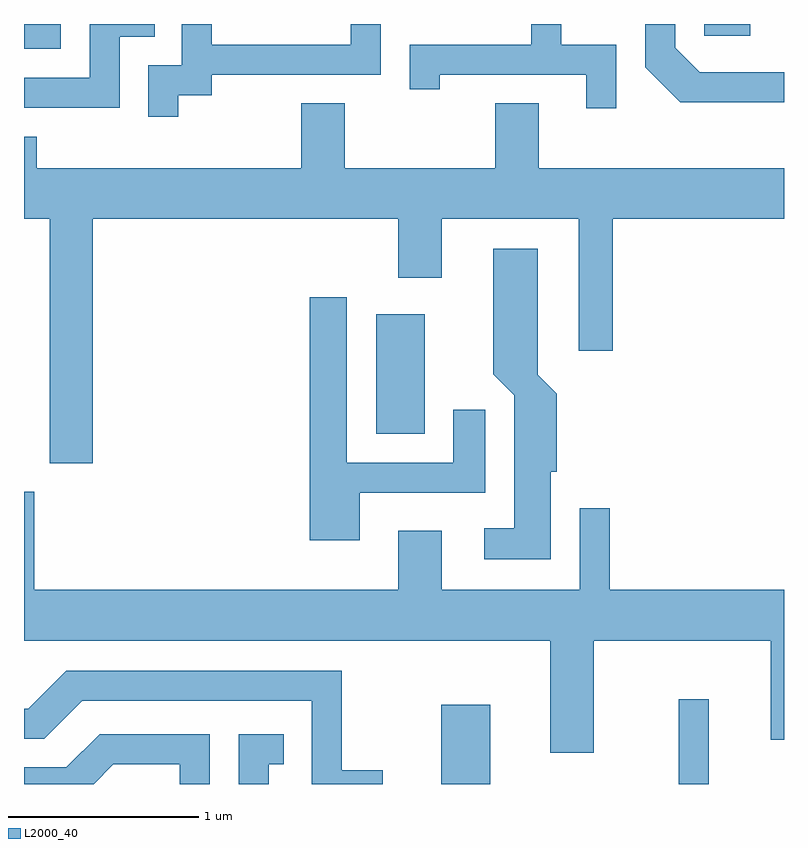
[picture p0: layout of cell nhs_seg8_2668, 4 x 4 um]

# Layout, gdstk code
import gdstk
lib = gdstk.Library(unit=1e-6, precision=1e-09)
def R(c, l, rs):  # rectangles x0, y0, x1, y1
    for r in rs: c.add(gdstk.rectangle(r[:2], r[2:], *l))
def P(c, l, *ps):  # polygons
    for p in ps: c.add(gdstk.Polygon(p, *l))
L2000_40 = (2000, 40)

nhs_seg8_2668 = lib.new_cell('nhs_seg8_2668')
R(nhs_seg8_2668, L2000_40, [(267.806,1822.342,268.064,1822.759), (269.056,1822.342,269.214,1822.788), (267.466,1824.186,267.719,1824.814), (265.611,1826.211,265.804,1826.342), (269.191,1826.281,269.433,1826.342)])
P(nhs_seg8_2668, L2000_40, [(269.611,1826.089),(269.167,1826.089),(269.039,1826.217),(269.039,1826.342),(268.881,1826.342),(268.881,1826.114),(269.064,1825.931),(269.611,1825.931)],
  [(268.729,1826.234),(268.439,1826.234),(268.439,1826.342),(268.281,1826.342),(268.281,1826.234),(267.641,1826.234),(267.641,1825.998),(267.799,1825.998),(267.799,1826.076),(268.571,1826.076),(268.571,1825.898),(268.729,1825.898)],
  [(266.114,1826.276),(266.298,1826.276),(266.298,1826.342),(265.956,1826.342),(265.956,1826.059),(265.611,1826.059),(265.611,1825.901),(266.114,1825.901)],
  [(266.424,1825.966),(266.599,1825.966),(266.599,1826.076),(267.489,1826.076),(267.489,1826.342),(267.331,1826.342),(267.331,1826.234),(266.599,1826.234),(266.599,1826.342),(266.441,1826.342),(266.441,1826.124),(266.266,1826.124),(266.266,1825.853),(266.424,1825.853)],
  [(265.974,1825.316),(267.581,1825.316),(267.581,1825.006),(267.809,1825.006),(267.809,1825.316),(268.531,1825.316),(268.531,1824.621),(268.709,1824.621),(268.709,1825.316),(269.611,1825.316),(269.611,1825.584),(268.319,1825.584),(268.319,1825.924),(268.091,1825.924),(268.091,1825.584),(267.299,1825.584),(267.299,1825.924),(267.071,1825.924),(267.071,1825.584),(265.679,1825.584),(265.679,1825.749),(265.611,1825.749),(265.611,1825.316),(265.746,1825.316),(265.746,1824.031),(265.974,1824.031)],
  [(268.384,1823.986),(268.414,1823.986),(268.414,1824.397),(268.314,1824.497),(268.314,1825.159),(268.081,1825.159),(268.081,1824.499),(268.191,1824.389),(268.191,1823.689),(268.033,1823.689),(268.033,1823.526),(268.384,1823.526)],
  [(267.379,1823.876),(268.039,1823.876),(268.039,1824.313),(267.871,1824.313),(267.871,1824.034),(267.309,1824.034),(267.309,1824.904),(267.116,1824.904),(267.116,1823.626),(267.379,1823.626)],
  [(268.609,1823.096),(269.541,1823.096),(269.541,1822.576),(269.611,1822.576),(269.611,1823.364),(268.694,1823.364),(268.694,1823.793),(268.536,1823.793),(268.536,1823.364),(267.809,1823.364),(267.809,1823.674),(267.581,1823.674),(267.581,1823.364),(265.664,1823.364),(265.664,1823.879),(265.611,1823.879),(265.611,1823.096),(268.381,1823.096),(268.381,1822.506),(268.609,1822.506)],
  [(267.499,1822.414),(267.284,1822.414),(267.284,1822.939),(265.834,1822.939),(265.634,1822.739),(265.611,1822.739),(265.611,1822.581),(265.717,1822.581),(265.917,1822.781),(267.126,1822.781),(267.126,1822.342),(267.499,1822.342)],
  [(266.082,1822.446),(266.431,1822.446),(266.431,1822.342),(266.589,1822.342),(266.589,1822.604),(266.009,1822.604),(265.834,1822.429),(265.611,1822.429),(265.611,1822.342),(265.978,1822.342)],
  [(266.899,1822.446),(266.978,1822.446),(266.978,1822.604),(266.741,1822.604),(266.741,1822.342),(266.899,1822.342)])

lib.write_gds('nhs_seg8_2668.gds')
